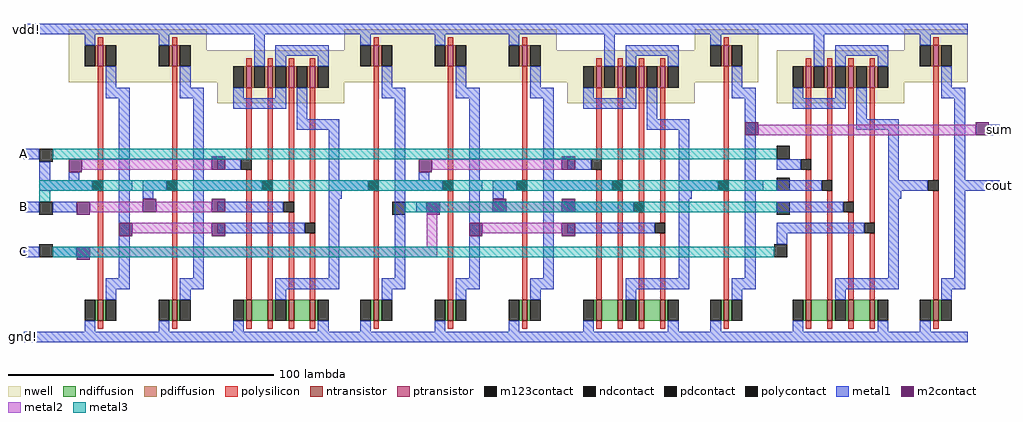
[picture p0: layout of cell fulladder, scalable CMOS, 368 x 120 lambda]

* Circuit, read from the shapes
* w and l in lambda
.subckt fulladder A B C cout gnd! sum vdd!
M1 xor3_0/xor2_0/aoi22_0/D A gnd! VSUBS nfet w=8 l=2
M2 xor3_0/xor2_0/aoi22_0/B B gnd! VSUBS nfet w=8 l=2
M3 n1 A gnd! VSUBS nfet w=8 l=2
M4 xor3_0/xor2_0/inv_2/A xor3_0/xor2_0/aoi22_0/B n1 VSUBS nfet w=8 l=2
M5 n2 B xor3_0/xor2_0/inv_2/A VSUBS nfet w=8 l=2
M6 gnd! xor3_0/xor2_0/aoi22_0/D n2 VSUBS nfet w=8 l=2
M7 aoi22_0/C xor3_0/xor2_0/inv_2/A gnd! VSUBS nfet w=8 l=2
M8 xor3_0/xor2_1/aoi22_0/D aoi22_0/C gnd! VSUBS nfet w=8 l=2
M9 xor3_0/xor2_1/aoi22_0/B C gnd! VSUBS nfet w=8 l=2
M10 n3 aoi22_0/C gnd! VSUBS nfet w=8 l=2
M11 xor3_0/xor2_1/inv_2/A xor3_0/xor2_1/aoi22_0/B n3 VSUBS nfet w=8 l=2
M12 n4 C xor3_0/xor2_1/inv_2/A VSUBS nfet w=8 l=2
M13 gnd! xor3_0/xor2_1/aoi22_0/D n4 VSUBS nfet w=8 l=2
M14 sum xor3_0/xor2_1/inv_2/A gnd! VSUBS nfet w=8 l=2
M15 n5 A gnd! VSUBS nfet w=8 l=2
M16 inv_0/A B n5 VSUBS nfet w=8 l=2
M17 n6 aoi22_0/C inv_0/A VSUBS nfet w=8 l=2
M18 gnd! C n6 VSUBS nfet w=8 l=2
M19 cout inv_0/A gnd! VSUBS nfet w=8 l=2
M20 xor3_0/xor2_0/aoi22_0/D A vdd! n7 pfet w=8 l=2
M21 xor3_0/xor2_0/aoi22_0/B B vdd! n7 pfet w=8 l=2
M22 vdd! A n8 n7 pfet w=8 l=2
M23 n8 xor3_0/xor2_0/aoi22_0/B vdd! n7 pfet w=8 l=2
M24 xor3_0/xor2_0/inv_2/A B n8 n7 pfet w=8 l=2
M25 n8 xor3_0/xor2_0/aoi22_0/D xor3_0/xor2_0/inv_2/A n7 pfet w=8 l=2
M26 aoi22_0/C xor3_0/xor2_0/inv_2/A vdd! n7 pfet w=8 l=2
M27 xor3_0/xor2_1/aoi22_0/D aoi22_0/C vdd! n7 pfet w=8 l=2
M28 xor3_0/xor2_1/aoi22_0/B C vdd! n7 pfet w=8 l=2
M29 vdd! aoi22_0/C n9 n7 pfet w=8 l=2
M30 n9 xor3_0/xor2_1/aoi22_0/B vdd! n7 pfet w=8 l=2
M31 xor3_0/xor2_1/inv_2/A C n9 n7 pfet w=8 l=2
M32 n9 xor3_0/xor2_1/aoi22_0/D xor3_0/xor2_1/inv_2/A n7 pfet w=8 l=2
M33 sum xor3_0/xor2_1/inv_2/A vdd! n7 pfet w=8 l=2
M34 vdd! A n10 n11 pfet w=8 l=2
M35 n10 B vdd! n11 pfet w=8 l=2
M36 inv_0/A aoi22_0/C n10 n11 pfet w=8 l=2
M37 n10 C inv_0/A n11 pfet w=8 l=2
M38 cout inv_0/A vdd! n11 pfet w=8 l=2
.ends

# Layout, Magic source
magic
tech scmos
<< metal1 >>
rect -14 116 0 120
rect 262 116 270 120
rect 349 78 353 82
rect -15 69 -9 73
rect -9 61 -5 68
rect -9 57 0 61
rect 315 57 319 61
rect 341 57 353 61
rect -15 49 -9 53
rect -4 49 0 53
rect 269 37 273 42
rect -15 32 -9 36
rect -4 32 4 36
rect -15 0 0 4
rect 262 0 269 4
rect 316 0 319 4
<< m2contact >>
rect 257 78 262 83
rect 344 78 349 83
<< metal2 >>
rect 262 78 344 82
<< m123contact >>
rect -9 68 -4 73
rect 269 69 274 74
rect 269 57 274 62
rect -9 48 -4 53
rect 124 48 129 53
rect 269 48 274 53
rect -9 32 -4 37
rect 268 32 273 37
<< metal3 >>
rect -4 69 269 73
rect -9 57 269 61
rect -9 53 -5 57
rect 129 49 269 53
rect -4 32 268 36
use inv  inv_0
transform 1 0 323 0 1 0
box -6 0 18 120
use aoi22  aoi22_0
transform 1 0 283 0 1 0
box -14 0 34 120
use xor3  xor3_0
transform 1 0 1 0 1 0
box -1 0 263 120
<< labels >>
rlabel metal1 -15 69 -15 73 3 A
rlabel metal1 -15 49 -15 53 3 B
rlabel metal1 -15 32 -15 36 3 C
rlabel metal1 -15 0 -15 4 2 gnd!
rlabel metal1 -14 116 -14 120 4 vdd!
rlabel metal1 353 78 353 82 7 sum
rlabel metal1 353 57 353 61 7 cout
<< end >>

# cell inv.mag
magic
tech scmos
<< nwell >>
rect -6 98 18 118
<< ntransistor >>
rect 5 8 7 16
<< ptransistor >>
rect 5 104 7 112
<< ndiffusion >>
rect 4 8 5 16
rect 7 8 8 16
<< pdiffusion >>
rect 4 104 5 112
rect 7 104 8 112
<< ndcontact >>
rect 0 8 4 16
rect 8 8 12 16
<< pdcontact >>
rect 0 104 4 112
rect 8 104 12 112
<< polysilicon >>
rect 5 112 7 115
rect 5 61 7 104
rect 5 16 7 57
rect 5 5 7 8
<< polycontact >>
rect 3 57 7 61
<< metal1 >>
rect -6 116 18 120
rect 0 112 4 116
rect 8 96 12 104
rect 8 92 17 96
rect 13 61 17 92
rect -6 57 3 61
rect 13 57 18 61
rect 13 24 17 57
rect 8 20 17 24
rect 8 16 12 20
rect 0 4 4 8
rect -6 0 18 4
<< labels >>
rlabel metal1 -6 0 -6 4 2 gnd!
rlabel metal1 -6 116 -6 120 4 vdd!
rlabel metal1 -6 57 -6 61 3 A
rlabel metal1 18 57 18 61 7 Z
<< end >>

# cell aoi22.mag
magic
tech scmos
<< nwell >>
rect -14 90 34 110
<< ntransistor >>
rect -3 8 -1 16
rect 5 8 7 16
rect 13 8 15 16
rect 21 8 23 16
<< ptransistor >>
rect -3 96 -1 104
rect 5 96 7 104
rect 13 96 15 104
rect 21 96 23 104
<< ndiffusion >>
rect -4 8 -3 16
rect -1 8 5 16
rect 7 8 8 16
rect 12 8 13 16
rect 15 8 21 16
rect 23 8 24 16
<< pdiffusion >>
rect -4 96 -3 104
rect -1 96 0 104
rect 4 96 5 104
rect 7 96 8 104
rect 12 96 13 104
rect 15 96 16 104
rect 20 96 21 104
rect 23 96 24 104
<< ndcontact >>
rect -8 8 -4 16
rect 8 8 12 16
rect 24 8 28 16
<< pdcontact >>
rect -8 96 -4 104
rect 0 96 4 104
rect 8 96 12 104
rect 16 96 20 104
rect 24 96 28 104
<< polysilicon >>
rect -3 104 -1 107
rect 5 104 7 107
rect 13 104 15 107
rect 21 104 23 107
rect -3 69 -1 96
rect -3 16 -1 65
rect 5 61 7 96
rect 5 16 7 57
rect 13 53 15 96
rect 13 16 15 49
rect 21 45 23 96
rect 21 16 23 41
rect -3 5 -1 8
rect 5 5 7 8
rect 13 5 15 8
rect 21 5 23 8
<< polycontact >>
rect -5 65 -1 69
rect 3 57 7 61
rect 11 49 15 53
rect 19 41 23 45
<< metal1 >>
rect -14 116 34 120
rect 0 104 4 116
rect 8 108 28 112
rect 8 104 12 108
rect 24 104 28 108
rect -8 92 -4 96
rect 8 92 12 96
rect -8 88 12 92
rect 16 84 20 96
rect 16 80 32 84
rect -14 65 -5 69
rect -14 57 3 61
rect 28 58 32 80
rect 28 54 33 58
rect -14 49 11 53
rect -14 41 19 45
rect 28 24 32 54
rect 8 20 32 24
rect 8 16 12 20
rect -8 4 -4 8
rect 24 4 28 8
rect -14 0 33 4
<< labels >>
rlabel metal1 -14 0 -14 4 2 gnd!
rlabel metal1 -14 41 -14 45 3 D
rlabel metal1 -14 49 -14 53 3 C
rlabel metal1 -14 57 -14 61 3 B
rlabel metal1 -14 65 -14 69 3 A
rlabel metal1 33 54 33 58 7 Z
rlabel metal1 -14 116 -14 120 4 vdd!
<< end >>

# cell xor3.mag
magic
tech scmos
<< nwell >>
rect 128 98 135 118
<< metal1 >>
rect -1 116 0 120
rect 128 116 133 120
rect -1 57 0 61
rect 129 57 134 61
rect 262 57 263 61
rect -1 49 0 53
rect -1 32 4 36
rect -1 0 0 4
rect 129 0 134 4
<< m2contact >>
rect 4 31 9 36
<< metal2 >>
rect 136 36 140 51
rect 9 32 140 36
use xor2  xor2_1
transform 1 0 133 0 1 0
box -1 0 129 120
use xor2  xor2_0
transform 1 0 1 0 1 0
box -1 0 129 120
<< labels >>
rlabel metal1 0 32 0 36 3 C
rlabel metal1 0 57 0 61 3 A
rlabel metal1 0 49 0 53 3 B
rlabel metal1 0 0 0 4 2 gnd!
rlabel metal1 0 116 0 120 4 vdd!
rlabel metal1 262 57 262 61 7 Z
<< end >>

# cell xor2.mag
magic
tech scmos
<< nwell >>
rect 24 98 30 118
rect 52 98 58 110
<< metal1 >>
rect -1 116 0 120
rect 24 116 28 120
rect 52 116 56 120
rect 0 61 4 64
rect -1 57 0 61
rect 28 54 32 58
rect 52 57 56 61
rect 102 57 106 61
rect 128 57 129 61
rect -1 49 3 53
rect -1 0 0 4
rect 24 0 28 4
rect 52 0 56 4
rect 103 0 107 4
<< m2contact >>
rect 0 64 5 69
rect 54 65 59 70
rect 3 48 8 53
rect 28 49 33 54
rect 54 49 59 54
rect 19 40 24 45
rect 54 40 59 45
<< metal2 >>
rect 5 65 54 69
rect 8 49 28 53
rect 33 49 54 53
rect 24 41 54 45
use inv  inv_2
transform 1 0 110 0 1 0
box -6 0 18 120
use inv  inv_0
transform 1 0 6 0 1 0
box -6 0 18 120
use inv  inv_1
transform 1 0 34 0 1 0
box -6 0 18 120
use aoi22  aoi22_0
transform 1 0 70 0 1 0
box -14 0 34 120
<< labels >>
rlabel metal1 0 57 0 61 3 A
rlabel metal1 0 0 0 4 2 gnd!
rlabel metal1 0 116 0 120 4 vdd!
rlabel metal1 -1 49 -1 53 3 B
rlabel metal1 128 57 128 61 7 Z
<< end >>
